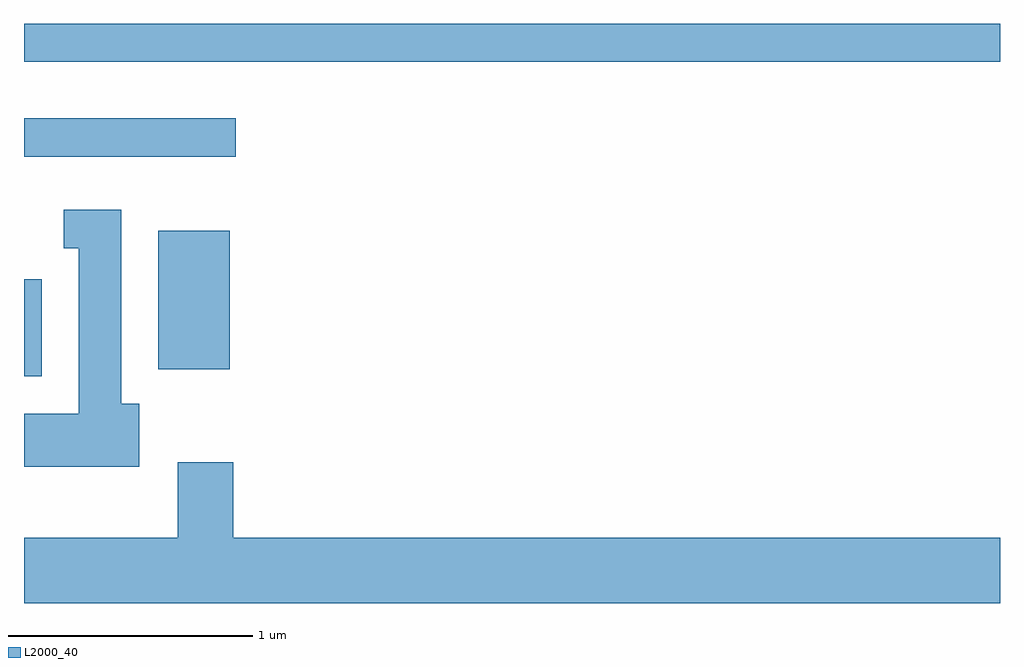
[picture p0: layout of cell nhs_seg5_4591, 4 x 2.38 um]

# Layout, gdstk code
import gdstk
lib = gdstk.Library(unit=1e-6, precision=1e-09)
def R(c, l, rs):  # rectangles x0, y0, x1, y1
    for r in rs: c.add(gdstk.rectangle(r[:2], r[2:], *l))
def P(c, l, *ps):  # polygons
    for p in ps: c.add(gdstk.Polygon(p, *l))
L2000_40 = (2000, 40)

nhs_seg5_4591 = lib.new_cell('nhs_seg5_4591')
R(nhs_seg5_4591, L2000_40, [(321.611,1446.626,321.684,1447.024), (322.161,1446.656,322.454,1447.224), (321.611,1447.526,322.478,1447.684), (321.611,1447.916,325.611,1448.072)])
P(nhs_seg5_4591, L2000_40, [(322.084,1446.514),(322.009,1446.514),(322.009,1447.309),(321.773,1447.309),(321.773,1447.151),(321.836,1447.151),(321.836,1446.474),(321.611,1446.474),(321.611,1446.256),(322.084,1446.256)],
  [(325.611,1445.964),(322.469,1445.964),(322.469,1446.274),(322.241,1446.274),(322.241,1445.964),(321.611,1445.964),(321.611,1445.696),(325.611,1445.696)])

lib.write_gds('nhs_seg5_4591.gds')
